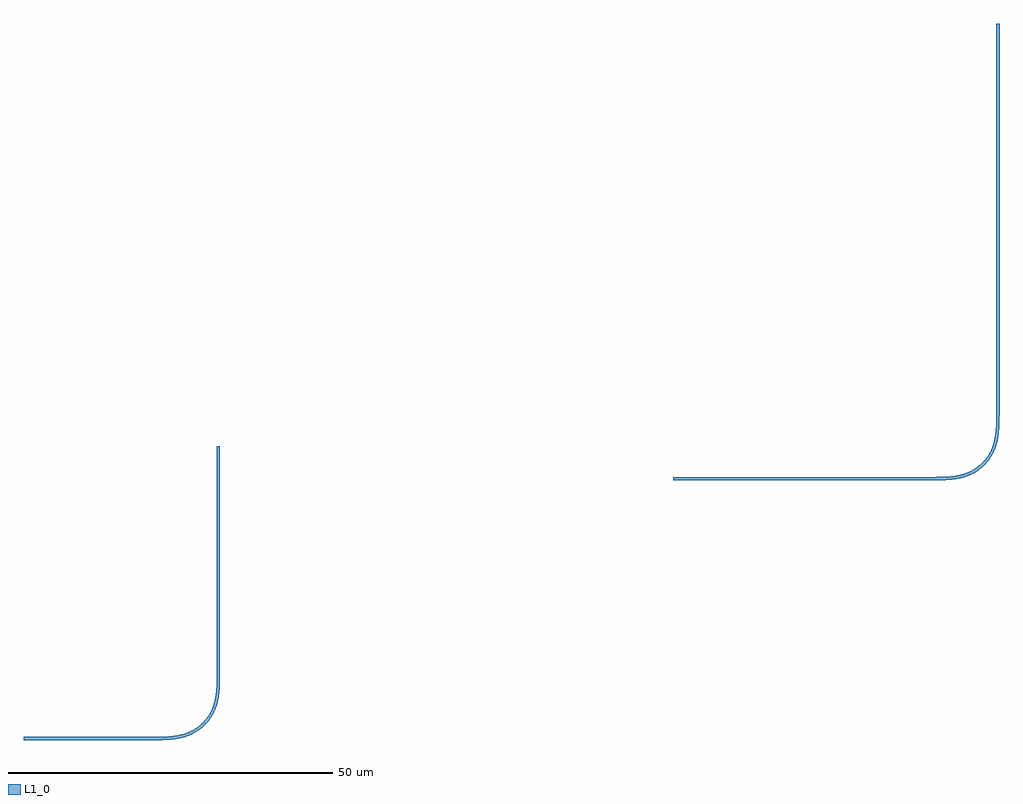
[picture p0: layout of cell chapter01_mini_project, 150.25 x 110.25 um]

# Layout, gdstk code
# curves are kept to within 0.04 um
from math import pi, radians
import gdstk
lib = gdstk.Library(unit=1e-6, precision=1e-09)
def R(c, l, rs):  # rectangles x0, y0, x1, y1
    for r in rs: c.add(gdstk.rectangle(r[:2], r[2:], *l))
def P(c, l, *ps):  # polygons
    for p in ps: c.add(gdstk.Polygon(p, *l))
L1_0 = (1, 0)

straight_gdsfactorypcomp = lib.new_cell('straight_gdsfactorypcomponentspwaveguidespstraight_L20__31a8c163')
R(straight_gdsfactorypcomp, L1_0, [(0,-0.25,20,0.25)])

bend_euler_gdsfactorypco = lib.new_cell('bend_euler_gdsfactorypcomponentspbendspbend_euler_RNone_387600b2')
P(bend_euler_gdsfactorypco, L1_0, [(0,-0.25),(0,0.25),(1.655,0.269),(2.881,0.353),(3.952,0.52),(4.99,0.806),(5.731,1.113),(6.431,1.505),(7.575,2.425),(8.495,3.569),(8.887,4.269),(9.194,5.01),(9.48,6.048),(9.647,7.119),(9.731,8.345),(9.75,10),(10.25,10),(10.158,7.205),(10.023,6.224),(9.797,5.254),(9.457,4.312),(9.066,3.545),(8.5,2.715),(7.928,2.072),(7.285,1.5),(6.455,0.934),(5.688,0.543),(4.746,0.203),(3.776,-0.023),(2.795,-0.158)])

c_straight_gdsfactorypcomp = lib.new_cell('straight_gdsfactorypcomponentspwaveguidespstraight_L35__2ffcf6d2')
R(c_straight_gdsfactorypcomp, L1_0, [(0,-0.25,35,0.25)])

make_bent_waveguide_l20_ = lib.new_cell('make_bent_waveguide_L20_L35')
make_bent_waveguide_l20_.add(gdstk.Reference(straight_gdsfactorypcomp, (0,0)))
make_bent_waveguide_l20_.add(gdstk.Reference(bend_euler_gdsfactorypco, (20,0)))
make_bent_waveguide_l20_.add(gdstk.Reference(c_straight_gdsfactorypcomp, (30,10), rotation=pi/2))

c_straight_gdsfactorypcomp_ = lib.new_cell('straight_gdsfactorypcomponentspwaveguidespstraight_L40__92237c63')
R(c_straight_gdsfactorypcomp_, L1_0, [(0,-0.25,40,0.25)])

c_straight_gdsfactorypcomp__ = lib.new_cell('straight_gdsfactorypcomponentspwaveguidespstraight_L60__19f0af99')
R(c_straight_gdsfactorypcomp__, L1_0, [(0,-0.25,60,0.25)])

make_bent_waveguide_l40_ = lib.new_cell('make_bent_waveguide_L40_L60')
make_bent_waveguide_l40_.add(gdstk.Reference(c_straight_gdsfactorypcomp_, (0,0)))
make_bent_waveguide_l40_.add(gdstk.Reference(bend_euler_gdsfactorypco, (40,0)))
make_bent_waveguide_l40_.add(gdstk.Reference(c_straight_gdsfactorypcomp__, (50,10), rotation=pi/2))

chapter01_mini_project = lib.new_cell('chapter01_mini_project')
chapter01_mini_project.add(gdstk.Reference(make_bent_waveguide_l20_, (0,0)))
chapter01_mini_project.add(gdstk.Reference(make_bent_waveguide_l40_, (100,40)))

lib.write_gds('chapter01_mini_project.gds')
